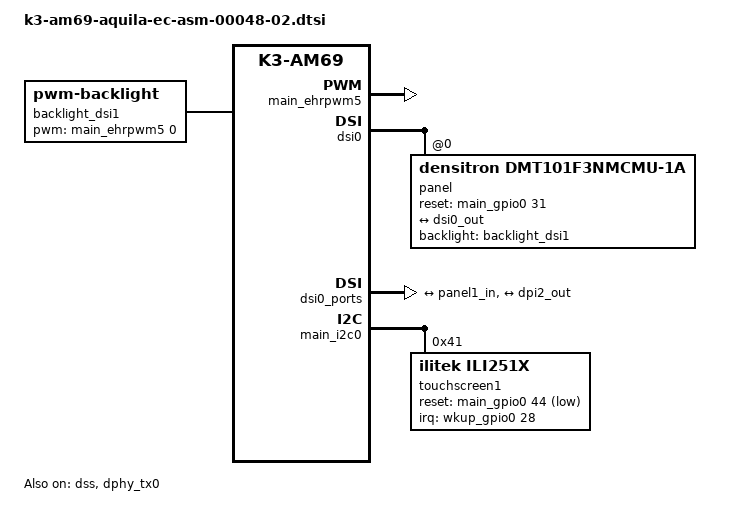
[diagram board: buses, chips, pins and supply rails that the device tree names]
// SPDX-License-Identifier: GPL-2.0-or-later OR MIT
/*
 * Copyright 2024 Toradex
 * Copyright 2025 Refeyn
 *
 * Device tree for EC-ASM-00048-02 CheckMate Screen Adaptor
 */

#include <dt-bindings/gpio/gpio.h>
#include <dt-bindings/interrupt-controller/irq.h>
#include <dt-bindings/pwm/pwm.h>

#include "k3-am69-aquila-generic-aux.dtsi"

&wkup_pmx0 {
	/* Aquila QSPI_1_CS2# (Touch interrupt) */
	pinctrl_mcu_ospi0_cs1_gpio: mcu-ospi0-cs1-default-pins {
		pinctrl-single,pins = <
			J784S4_WKUP_IOPAD(0x030, PIN_INPUT, 7)  /* (A33) MCU_OSPI0_CSn1 */ /* AQUILA B62 */
		>;
	};
};

// BEGIN SCREEN

&dss {
	status = "okay";
};

/* Aquila PWM_3_DSI */
&main_ehrpwm5 {
	status = "okay";
};

// Touchscreen (well, the screen part)
&{/} {
	backlight_dsi1: backlight-dsi1 {
		compatible = "pwm-backlight";
		pinctrl-names = "default";
		pinctrl-0 = <&pinctrl_gpio_19_dsi_1>;
		brightness-levels = <0 45 63 88 119 158 203 255>;
		default-brightness-level = <4>;
		/* Aquila PWM_3_DSI (AQUILA B46) */
		pwms = <&main_ehrpwm5 0 6666667 0>;
	};
};

&dphy_tx0 {
	status = "okay";
};

&dsi0 {
	status = "okay";
};

&dsi0_ports {
	#address-cells = <1>;
	#size-cells = <0>;

	port@0 {
		reg = <0>;

		dsi0_out: endpoint {
			remote-endpoint = <&panel1_in>;
		};
	};

	port@1 {
		reg = <1>;

		dsi0_in: endpoint {
			remote-endpoint = <&dpi2_out>;
		};
	};
};

&dss_ports {
	#address-cells = <1>;
	#size-cells = <0>;

	port@2 {
		reg = <2>;

		dpi2_out: endpoint {
			remote-endpoint = <&dsi0_in>;
		};
	};
};

&dsi0 {
	status = "okay";

	panel@0 {
		#address-cells = <1>;
		#size-cells = <0>;
		compatible = "densitron,dmt101f3nmcmu-1a";
		reg = <0>;

		rotation = <90>;

		backlight = <&backlight_dsi1>;

		pinctrl-names = "default";
		pinctrl-0 = <&pinctrl_gpio_17_dsi_1>;
		/* Aquila GPIO_17_DSI_1 (AQUILA B43) */
		reset-gpios = <&main_gpio0 31 GPIO_ACTIVE_HIGH>;

		port@0 {
			reg = <0>;
			panel1_in: endpoint {
				remote-endpoint = <&dsi0_out>;
			};
		};
	};
};

/* Aquila I2C_3_DSI1 */
&main_i2c0 {
	status = "okay";

	touchscreen1: touchscreen@41 {
		compatible = "ilitek,ili251x";
		reg = <0x41>;

		pinctrl-names = "default";
		pinctrl-0 = <&pinctrl_mcu_ospi0_cs1_gpio>, <&pinctrl_eth2_int>;
		/* Aquila QSPI_1_CS2# (TOUCH_INT#, AQUILA B62) */
		interrupt-parent = <&wkup_gpio0>;
		interrupts = <28 IRQ_TYPE_EDGE_FALLING>;
		/* Aquila ETH_2_XGMII_INT# (TOUCH_RESET#, AQUILA B81) */
		reset-gpios = <&main_gpio0 44 GPIO_ACTIVE_LOW>;
		wakeup-source;
	};
};

// END
